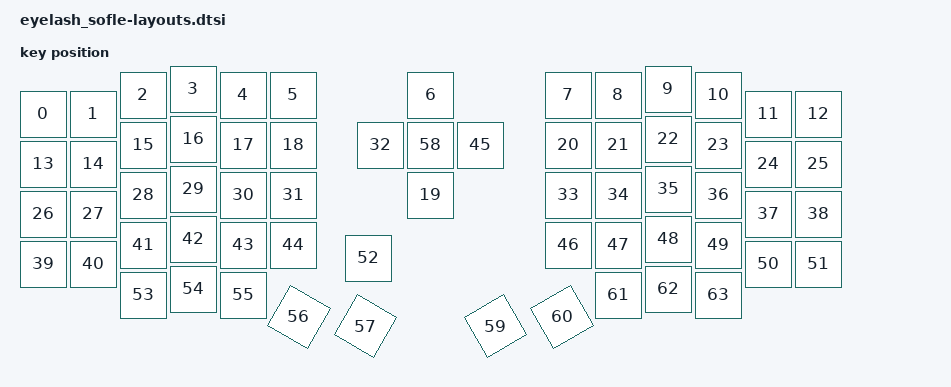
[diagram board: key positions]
#include <physical_layouts.dtsi>

/ {
    eyelash_sofle_layout: eyelash_sofle_layout {
        compatible = "zmk,physical-layout";
        display-name = "Layout";
        transform = <&default_transform>;
        keys  //                     w   h    x    y     rot    rx    ry
            = <&key_physical_attrs 100 100    0   50       0     0     0>
            , <&key_physical_attrs 100 100  100   50       0     0     0>
            , <&key_physical_attrs 100 100  200   12       0     0     0>
            , <&key_physical_attrs 100 100  300    0       0     0     0>
            , <&key_physical_attrs 100 100  400   12       0     0     0>
            , <&key_physical_attrs 100 100  500   12       0     0     0>
            , <&key_physical_attrs 100 100  775   12       0     0     0>
            , <&key_physical_attrs 100 100 1050   12       0     0     0>
            , <&key_physical_attrs 100 100 1150   12       0     0     0>
            , <&key_physical_attrs 100 100 1250    0       0     0     0>
            , <&key_physical_attrs 100 100 1350   12       0     0     0>
            , <&key_physical_attrs 100 100 1450   50       0     0     0>
            , <&key_physical_attrs 100 100 1550   50       0     0     0>
            , <&key_physical_attrs 100 100    0  150       0     0     0>
            , <&key_physical_attrs 100 100  100  150       0     0     0>
            , <&key_physical_attrs 100 100  200  112       0     0     0>
            , <&key_physical_attrs 100 100  300  100       0     0     0>
            , <&key_physical_attrs 100 100  400  112       0     0     0>
            , <&key_physical_attrs 100 100  500  112       0     0     0>
            , <&key_physical_attrs 100 100  775  212       0     0     0>
            , <&key_physical_attrs 100 100 1050  112       0     0     0>
            , <&key_physical_attrs 100 100 1150  112       0     0     0>
            , <&key_physical_attrs 100 100 1250  100       0     0     0>
            , <&key_physical_attrs 100 100 1350  112       0     0     0>
            , <&key_physical_attrs 100 100 1450  150       0     0     0>
            , <&key_physical_attrs 100 100 1550  150       0     0     0>
            , <&key_physical_attrs 100 100    0  250       0     0     0>
            , <&key_physical_attrs 100 100  100  250       0     0     0>
            , <&key_physical_attrs 100 100  200  212       0     0     0>
            , <&key_physical_attrs 100 100  300  200       0     0     0>
            , <&key_physical_attrs 100 100  400  212       0     0     0>
            , <&key_physical_attrs 100 100  500  212       0     0     0>
            , <&key_physical_attrs 100 100  675  112       0     0     0>
            , <&key_physical_attrs 100 100 1050  212       0     0     0>
            , <&key_physical_attrs 100 100 1150  212       0     0     0>
            , <&key_physical_attrs 100 100 1250  200       0     0     0>
            , <&key_physical_attrs 100 100 1350  212       0     0     0>
            , <&key_physical_attrs 100 100 1450  250       0     0     0>
            , <&key_physical_attrs 100 100 1550  250       0     0     0>
            , <&key_physical_attrs 100 100    0  350       0     0     0>
            , <&key_physical_attrs 100 100  100  350       0     0     0>
            , <&key_physical_attrs 100 100  200  312       0     0     0>
            , <&key_physical_attrs 100 100  300  300       0     0     0>
            , <&key_physical_attrs 100 100  400  312       0     0     0>
            , <&key_physical_attrs 100 100  500  312       0     0     0>
            , <&key_physical_attrs 100 100  875  112       0     0     0>
            , <&key_physical_attrs 100 100 1050  312       0     0     0>
            , <&key_physical_attrs 100 100 1150  312       0     0     0>
            , <&key_physical_attrs 100 100 1250  300       0     0     0>
            , <&key_physical_attrs 100 100 1350  312       0     0     0>
            , <&key_physical_attrs 100 100 1450  350       0     0     0>
            , <&key_physical_attrs 100 100 1550  350       0     0     0>
            , <&key_physical_attrs 100 100  650  338       0     0     0>
            , <&key_physical_attrs 100 100  200  412       0     0     0>
            , <&key_physical_attrs 100 100  300  400       0     0     0>
            , <&key_physical_attrs 100 100  400  412       0     0     0>
            , <&key_physical_attrs 100 100  550  412    3000   500   412>
            , <&key_physical_attrs 100 100  675  362    3000   500   412>
            , <&key_physical_attrs 100 100  775  112       0     0     0>
            , <&key_physical_attrs 100 100  875  362 (-3000)  1150   412>
            , <&key_physical_attrs 100 100 1000  412 (-3000)  1150   412>
            , <&key_physical_attrs 100 100 1150  412       0     0     0>
            , <&key_physical_attrs 100 100 1250  400       0     0     0>
            , <&key_physical_attrs 100 100 1350  412       0     0     0>
            ;
    };
};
